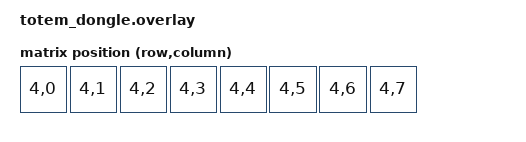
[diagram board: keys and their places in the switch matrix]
/*
 * Copyright (c) 2022 The ZMK Contributors
 *
 * SPDX-License-Identifier: MIT
 *
 * Prospector dongle: no keys, so the real matrix scan is swapped for ZMK's
 * mock kscan (dongle guide). Reuses totem.dtsi so the matrix transform and
 * Studio physical layout stay identical to the halves (the halves send
 * positions already transformed by their own col-offset), plus 8 positions
 * (38-45) for the BLE mouse's buttons (docs/mouse-host.md).
 */

#include "totem.dtsi"

/* config/totem.keymap reads this (overlays and the keymap are one
 * preprocessor run): with it, every layer gets 8 more bindings, one per
 * mouse button. The halves build the same keymap without it, so they keep
 * 38 positions. src/mouse_host/mouse_keys.c asserts the lengths agree. */
#define TOTEM_MOUSE_KEYS

/* ZMK sizes the keymap from the physical layout's transform (zmk/matrix.h
 * ZMK_KEYMAP_LEN), so the 8 mouse positions are a fifth transform row. No
 * kscan reports it (the mock kscan has no keys); mouse_keys raises the
 * positions itself. Studio draws them as a row under the thumbs, left to
 * right = buttons 1-8 (left, right, middle, back, forward, 6, 7, 8). */
&default_transform {
    rows = <5>;
    map = <TOTEM_TRANSFORM_MAP RC(4,0) RC(4,1) RC(4,2) RC(4,3) RC(4,4) RC(4,5) RC(4,6) RC(4,7)>;
};

&totem_physical_layout {
    display-name = "TOTEM + mouse";
    keys = TOTEM_LAYOUT_KEYS
        , <&key_physical_attrs 100 100  325  520       0     0     0>
        , <&key_physical_attrs 100 100  425  520       0     0     0>
        , <&key_physical_attrs 100 100  525  520       0     0     0>
        , <&key_physical_attrs 100 100  625  520       0     0     0>
        , <&key_physical_attrs 100 100  725  520       0     0     0>
        , <&key_physical_attrs 100 100  825  520       0     0     0>
        , <&key_physical_attrs 100 100  925  520       0     0     0>
        , <&key_physical_attrs 100 100 1025  520       0     0     0>
        ;
};

/* After the transform override: one of these headers redefines RC() with
 * one argument (CI run 45080292175), which broke the RC(row,col) list. */
#include <dt-bindings/zmk/keys.h>
#include <zephyr/dt-bindings/input/input-event-codes.h>
#include <zephyr/dt-bindings/dt-util.h>
#include <flask_accel.dtsi>
#include <flask_scrollsnap.dtsi>

/* Live pointer tuning for the paired mouse (Flask, docs/mouse-host.md).
 * Both boot off so a fresh dongle moves exactly as before; the app turns
 * them on and Save keeps that. cpi: Elecom mice run ~1200-2000; the binding
 * default 1600 only normalizes the curve's velocity axis. */
&flask_accel {
    start-disabled;
};

&flask_scrollsnap {
    start-disabled;
};

/* totem.dtsi's kscan0 has no col-gpios here (the pins belong to the
 * display), so it must not stay in the tree. */
/delete-node/ &kscan0;

/* USB is keyboard/mouse only on the dongle (it sits on a locked-down
 * workstation). The xiao_ble board always adds a CDC-ACM console port
 * (zephyr boards/seeed/xiao_ble/xiao_ble_common.dtsi includes
 * boards/common/usb/cdc_acm_serial.dtsi), with or without a Studio snippet:
 * disable it, and point nothing at it. BOARD_SERIAL_BACKEND_CDC_ACM=n in
 * Kconfig.defconfig drops the console that would use it. */
&board_cdc_acm_uart {
    status = "disabled";
};

/ {
    chosen {
        /delete-property/ zephyr,console;
        /delete-property/ zephyr,shell-uart;
        /delete-property/ zephyr,uart-mcumgr;
        /delete-property/ zephyr,bt-mon-uart;
        /delete-property/ zephyr,bt-c2h-uart;
    };
};

/ {
    chosen {
        zmk,kscan = &mock_kscan;
    };

    mock_kscan: mock_kscan_0 {
        compatible = "zmk,kscan-mock";
        columns = <0>;
        rows = <0>;
        events = <0>;
    };

    /* Any BLE HID mouse (AJ's zmk-ble-mouse-host fork), paired from the
     * Flask app (docs/mouse-host.md) or with &mouse_pair (first device with
     * the Mouse appearance). Only the central runs it, so the node and
     * behaviors live here, not in the shared keymap. No pair-name-prefix: it
     * made &mouse_pair Endgame-only; the Flask list still finds the Endgame
     * (HID UUID). Re-add pair-name-prefix = "Endgame" to get that back. */
    mouse_host: mouse_host {
        compatible = "zmk,ble-mouse-host";
    };

    /* Buttons 1-8 become keymap positions 38-45 (src/mouse_host/
     * mouse_keys.c), so each is a normal per-layer binding (Studio, Flask)
     * and holds work for drags. Button events stop here; motion and wheel
     * go on. */
    mouse_keys: mouse_keys {
        compatible = "zmk,input-processor-mouse-keys";
        #input-processor-cells = <0>;
        first-position = <38>;
    };

    /* flask_scrollscale on the wheel itself (the module's own dtsi nodes
     * scale a scroll ball's X/Y before its xy-to-scroll mapper). Used as
     * 4/4: the live percent (25-400) divides the divisor and the divisor
     * cannot go below 1, so a 4 is what lets it go both ways, x0.25 to x4. */
    mh_wheel_scaler: mh_wheel_scaler {
        compatible = "zmk,input-processor-flask-scrollscale";
        #input-processor-cells = <2>;
        type = <INPUT_EV_REL>;
        codes = <INPUT_REL_WHEEL>;
        track-remainders;
    };

    mh_hwheel_scaler: mh_hwheel_scaler {
        compatible = "zmk,input-processor-flask-scrollscale";
        #input-processor-cells = <2>;
        type = <INPUT_EV_REL>;
        codes = <INPUT_REL_HWHEEL>;
        track-remainders;
    };

    /* Flask channels that tune this chain live: accel 0x10, scroll speed
     * 0x29, scroll snap 0x26 (each module keeps one global setting, and on
     * the dongle only this listener uses them). */
    mouse_host_listener {
        compatible = "zmk,input-listener";
        device = <&mouse_host>;
        input-processors = <&mouse_keys &flask_accel &mh_wheel_scaler 4 4
                            &mh_hwheel_scaler 4 4 &flask_scrollsnap>;
        /* Calibration knob, first hardware check: a mouse may send hi-res
         * wheel values that this dongle reads as whole detents, so scrolling
         * runs far too fast. Flask scroll speed reaches x0.25; past that,
         * raise the divisors (e.g. 4 60 for a x15 wheel). */
    };

    behaviors {
        /* Mouse buttons 6-8 (keymap positions 43-45 by default; on the
         * Elecom DEFT Pro probably Fn1-Fn3, unconfirmed), split by
         * OS mode (zmk-switch-layout, same index as &slk_globe: 0 = PC,
         * 1 = mac). PC: F13-F15, because Windows/AHK v2 stop at XButton2
         * (placeholders until AJ picks). mac: real HID buttons 6-8, which
         * need a ZMK whose mouse descriptor has 8 buttons (the pinned fork);
         * stock ZMK refuses buttons past 5 (-EINVAL). */
        slk_mb6: slk_mb6 {
            compatible = "zmk-switch-layout,behavior-switch-layout-key";
            display-name = "Mouse Fn1 (button 6)";
            #binding-cells = <0>;
            bindings = <&kp F13>, <&mkp BIT(5)>;
        };

        slk_mb7: slk_mb7 {
            compatible = "zmk-switch-layout,behavior-switch-layout-key";
            display-name = "Mouse Fn2 (button 7)";
            #binding-cells = <0>;
            bindings = <&kp F14>, <&mkp BIT(6)>;
        };

        slk_mb8: slk_mb8 {
            compatible = "zmk-switch-layout,behavior-switch-layout-key";
            display-name = "Mouse Fn3 (button 8)";
            #binding-cells = <0>;
            bindings = <&kp F15>, <&mkp BIT(7)>;
        };

        mouse_pair: mouse_pair {
            compatible = "zmk,behavior-mouse-host-pair";
            #binding-cells = <0>;
        };

        mouse_unpair: mouse_unpair {
            compatible = "zmk,behavior-mouse-host-unpair";
            #binding-cells = <0>;
        };

        /* Phone remote (docs/phone-remote.md). &phone_pair opens the 60 s
         * pairing window (pressed again: cancels it); &phone_toggle switches
         * phone input on/off (remembered); &phone_clear forgets the phones. */
        phone_pair: phone_pair {
            compatible = "zmk,behavior-phone-remote";
            #binding-cells = <0>;
            action = "pair";
        };

        phone_toggle: phone_toggle {
            compatible = "zmk,behavior-phone-remote";
            #binding-cells = <0>;
            action = "toggle";
        };

        phone_clear: phone_clear {
            compatible = "zmk,behavior-phone-remote";
            #binding-cells = <0>;
            action = "clear";
        };

        /* Opens (pressed again: closes) the config window: for
         * CONFIG_TOTEM_PHONE_REMOTE_CONFIG_WINDOW_S the connected paired
         * phone may use ZMK Studio and the Flask tunnel. */
        phone_config_unlock: phone_config_unlock {
            compatible = "zmk,behavior-phone-remote";
            #binding-cells = <0>;
            action = "config";
        };
    };

    /* The module's behaviors carry no Studio metadata at the pinned ZMK (same
     * gap as &mmv/&msc), so macros make them assignable from Studio /
     * Totem-Flask. Not bound in totem.keymap: every thumb on Navigation is
     * load-bearing and AJ's live keymap lives in Studio anyway. Pair forgets
     * the old bond first, so Unpair is only for "stop reconnecting". Node
     * names stay endgame_* (Studio stores bindings by a local id derived
     * from the node name); only the labels say Mouse now. */
    macros {
        endgame_pair: endgame_pair {
            compatible = "zmk,behavior-macro";
            display-name = "Pair Mouse";
            #binding-cells = <0>;
            bindings = <&mouse_pair>;
        };

        endgame_unpair: endgame_unpair {
            compatible = "zmk,behavior-macro";
            display-name = "Unpair Mouse";
            #binding-cells = <0>;
            bindings = <&mouse_unpair>;
        };

        /* Same reason: Studio-assignable phone remote keys, not bound in
         * totem.keymap. */
        phone_pair_m: phone_pair_m {
            compatible = "zmk,behavior-macro";
            display-name = "Phone Pair";
            #binding-cells = <0>;
            bindings = <&phone_pair>;
        };

        phone_toggle_m: phone_toggle_m {
            compatible = "zmk,behavior-macro";
            display-name = "Phone Remote On/Off";
            #binding-cells = <0>;
            bindings = <&phone_toggle>;
        };

        phone_clear_m: phone_clear_m {
            compatible = "zmk,behavior-macro";
            display-name = "Forget Phones";
            #binding-cells = <0>;
            bindings = <&phone_clear>;
        };

        phone_config_unlock_m: phone_config_unlock_m {
            compatible = "zmk,behavior-macro";
            display-name = "Phone Config Unlock";
            #binding-cells = <0>;
            bindings = <&phone_config_unlock>;
        };
    };
};
